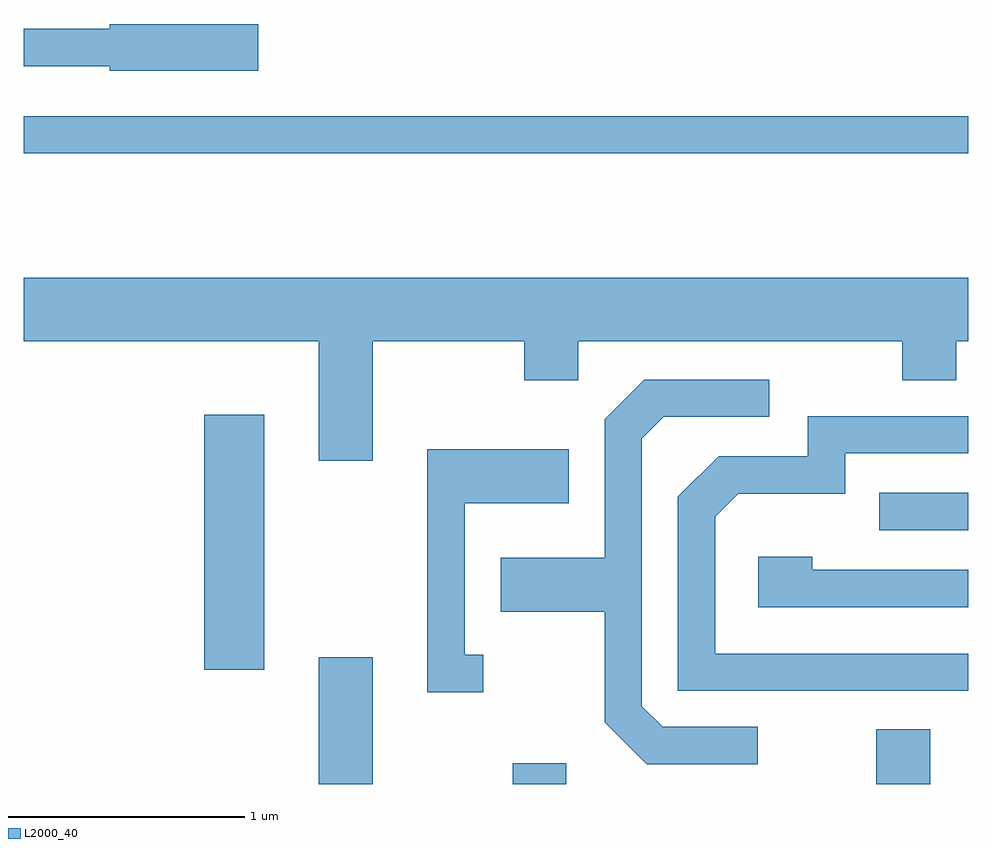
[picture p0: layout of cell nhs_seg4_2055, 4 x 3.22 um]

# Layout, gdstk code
import gdstk
lib = gdstk.Library(unit=1e-6, precision=1e-09)
def R(c, l, rs):  # rectangles x0, y0, x1, y1
    for r in rs: c.add(gdstk.rectangle(r[:2], r[2:], *l))
def P(c, l, *ps):  # polygons
    for p in ps: c.add(gdstk.Polygon(p, *l))
L2000_40 = (2000, 40)

nhs_seg4_2055 = lib.new_cell('nhs_seg4_2055')
R(nhs_seg4_2055, L2000_40, [(246.861,1283.982,247.089,1284.519), (247.681,1283.982,247.909,1284.069), (249.221,1283.982,249.449,1284.214), (246.376,1284.466,246.629,1285.544), (249.233,1285.056,249.611,1285.214), (245.611,1286.651,249.611,1286.809)])
P(nhs_seg4_2055, L2000_40, [(246.604,1287.199),(245.976,1287.199),(245.976,1287.179),(245.611,1287.179),(245.611,1287.021),(245.976,1287.021),(245.976,1287.001),(246.604,1287.001)],
  [(247.089,1285.856),(247.731,1285.856),(247.731,1285.691),(247.959,1285.691),(247.959,1285.856),(249.331,1285.856),(249.331,1285.691),(249.559,1285.691),(249.559,1285.856),(249.611,1285.856),(249.611,1286.124),(245.611,1286.124),(245.611,1285.856),(246.861,1285.856),(246.861,1285.351),(247.089,1285.351)],
  [(248.718,1284.224),(248.317,1284.224),(248.229,1284.312),(248.229,1285.444),(248.322,1285.536),(248.768,1285.536),(248.768,1285.694),(248.239,1285.694),(248.071,1285.527),(248.071,1284.939),(247.631,1284.939),(247.631,1284.711),(248.071,1284.711),(248.071,1284.244),(248.249,1284.066),(248.718,1284.066)],
  [(249.611,1284.534),(248.539,1284.534),(248.539,1285.114),(248.637,1285.211),(249.089,1285.211),(249.089,1285.381),(249.611,1285.381),(249.611,1285.539),(248.931,1285.539),(248.931,1285.369),(248.554,1285.369),(248.381,1285.197),(248.381,1284.376),(249.611,1284.376)],
  [(247.558,1284.529),(247.479,1284.529),(247.479,1285.171),(247.919,1285.171),(247.919,1285.399),(247.321,1285.399),(247.321,1284.371),(247.558,1284.371)],
  [(249.611,1284.889),(248.949,1284.889),(248.949,1284.944),(248.721,1284.944),(248.721,1284.731),(249.611,1284.731)])

lib.write_gds('nhs_seg4_2055.gds')
